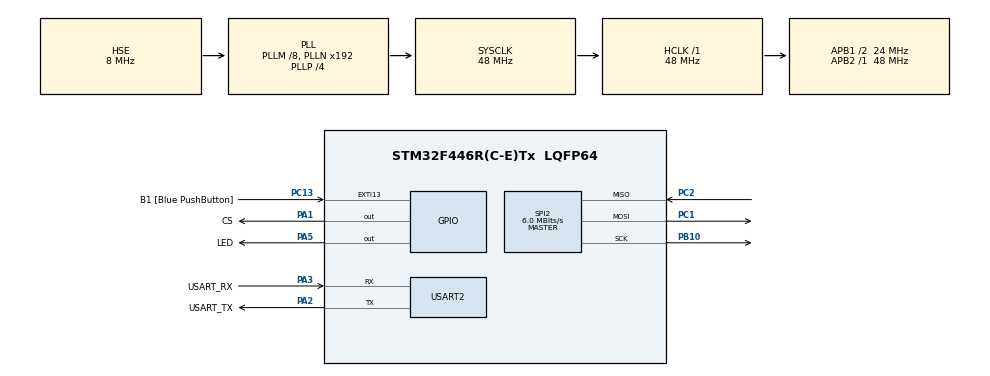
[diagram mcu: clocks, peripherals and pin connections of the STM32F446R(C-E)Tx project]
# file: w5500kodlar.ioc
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Mcu.Family=STM32F4
Mcu.Name=STM32F446R(C-E)Tx
Mcu.Package=LQFP64
NVIC.PriorityGroup=NVIC_PRIORITYGROUP_0
PA1.GPIO_Label=CS
PA1.GPIO_PuPd=GPIO_PULLUP
PA1.Signal=GPIO_Output
PA13.GPIO_Label=TMS
PA13.Mode=Serial_Wire
PA13.Signal=SYS_JTMS-SWDIO
PA14.GPIO_Label=TCK
PA14.Mode=Serial_Wire
PA14.Signal=SYS_JTCK-SWCLK
PA2.GPIO_Label=USART_TX
PA2.Mode=Asynchronous
PA2.Signal=USART2_TX
PA3.GPIO_Label=USART_RX
PA3.Mode=Asynchronous
PA3.Signal=USART2_RX
PA5.GPIO_Label=LED
PA5.Signal=GPIO_Output
PB10.Mode=Full_Duplex_Master
PB10.Signal=SPI2_SCK
PB3.GPIO_Label=SWO
PB3.Signal=SYS_JTDO-SWO
PC1.Mode=Full_Duplex_Master
PC1.Signal=SPI2_MOSI
PC13.GPIO_Label=B1 [Blue PushButton]
PC13.GPIO_ModeDefaultEXTI=GPIO_MODE_IT_FALLING
PC13.Signal=GPXTI13
PC14-OSC32_IN.Signal=RCC_OSC32_IN
PC15-OSC32_OUT.Signal=RCC_OSC32_OUT
PC2.Mode=Full_Duplex_Master
PC2.Signal=SPI2_MISO
PH0-OSC_IN.Mode=HSE-External-Oscillator
PH0-OSC_IN.Signal=RCC_OSC_IN
PH1-OSC_OUT.Mode=HSE-External-Oscillator
PH1-OSC_OUT.Signal=RCC_OSC_OUT
ProjectManager.HeapSize=0x200
ProjectManager.StackSize=0x400
ProjectManager.TargetToolchain=STM32CubeIDE
RCC.48MHZClocksFreq_Value=84000000
RCC.AHBFreq_Value=48000000
RCC.APB1CLKDivider=RCC_HCLK_DIV2
RCC.APB1Freq_Value=24000000
RCC.APB1TimFreq_Value=48000000
RCC.APB2Freq_Value=48000000
RCC.APB2TimFreq_Value=48000000
RCC.CortexFreq_Value=48000000
RCC.FLatency-AdvancedSettings=FLASH_LATENCY_1
RCC.HCLKFreq_Value=48000000
RCC.HSE_VALUE=8000000
RCC.HSI_VALUE=16000000
RCC.PLLM=8
RCC.PLLP=RCC_PLLP_DIV4
RCC.PLLSourceVirtual=RCC_PLLSOURCE_HSE
RCC.SYSCLKFreq_VALUE=48000000
RCC.SYSCLKSource=RCC_SYSCLKSOURCE_PLLCLK
RCC.USBFreq_Value=96000000
RCC.VCOOutputFreq_Value=192000000
SPI2.BaudRatePrescaler=SPI_BAUDRATEPRESCALER_4
SPI2.CalculateBaudRate=6.0 MBits/s
SPI2.Direction=SPI_DIRECTION_2LINES
SPI2.Mode=SPI_MODE_MASTER
SPI2.VirtualType=VM_MASTER
USART2.VirtualMode=VM_ASYNC
board=NUCLEO-F446RE

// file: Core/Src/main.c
/* USER CODE BEGIN Header */
/**
  ******************************************************************************
  * @file           : main.c
  * @brief          : Main program body
  ******************************************************************************
  * @attention
  *
  * <h2><center>&copy; Copyright (c) 2021 STMicroelectronics.
  * All rights reserved.</center></h2>
  *
  * This software component is licensed by ST under BSD 3-Clause license,
  * the "License"; You may not use this file except in compliance with the
  * License. You may obtain a copy of the License at:
  *                        opensource.org/licenses/BSD-3-Clause
  *
  ******************************************************************************
  */
/* USER CODE END Header */
#include "main.h"
#include "spi.h"
#include "usart.h"
#include "gpio.h"

/* USER CODE BEGIN Includes */
#include "wizchip_conf.h"
#include "socket.h"
#include <stm32f4xx_hal.h>
#include <string.h>
/* USER CODE END Includes */

/* USER CODE BEGIN PTD */
#define SEPARATOR            "=============================================\r\n"
#define WELCOME_MSG  		 "Welcome to STM32Nucleo Ethernet configuration\r\n"
#define NETWORK_MSG  		 "Network configuration:\r\n"
#define IP_MSG 		 		 "  IP ADDRESS:  %d.%d.%d.%d\r\n"
#define NETMASK_MSG	         "  NETMASK:     %d.%d.%d.%d\r\n"
#define GW_MSG 		 		 "  GATEWAY:     %d.%d.%d.%d\r\n"
#define MAC_MSG		 		 "  MAC ADDRESS: %x:%x:%x:%x:%x:%x\r\n"
#define GREETING_MSG 		 "Well done guys! Welcome to the IoT world. Bye!\r\n"
#define CONN_ESTABLISHED_MSG "Connection established with remote IP: %d.%d.%d.%d:%d\r\n"
#define SENT_MESSAGE_MSG	 "Sent a message. Let's close the socket!\r\n"
#define WRONG_RETVAL_MSG	 "Something went wrong; return value: %d\r\n"
#define WRONG_STATUS_MSG	 "Something went wrong; STATUS: %d\r\n"
#define LISTEN_ERR_MSG		 "LISTEN Error!\r\n"

#define PRINT_STR(msg) do  {										\
  HAL_UART_Transmit(&huart2, (uint8_t*)msg, strlen(msg), 100);		\
} while(0)

#define PRINT_HEADER() do  {													\
  HAL_UART_Transmit(&huart2, (uint8_t*)SEPARATOR, strlen(SEPARATOR), 100);		\
  HAL_UART_Transmit(&huart2, (uint8_t*)WELCOME_MSG, strlen(WELCOME_MSG), 100);	\
  HAL_UART_Transmit(&huart2, (uint8_t*)SEPARATOR, strlen(SEPARATOR), 100);		\
} while(0)

#define PRINT_NETINFO(netInfo) do { 																					\
  HAL_UART_Transmit(&huart2, (uint8_t*)NETWORK_MSG, strlen(NETWORK_MSG), 100);											\
  sprintf(msg, MAC_MSG, netInfo.mac[0], netInfo.mac[1], netInfo.mac[2], netInfo.mac[3], netInfo.mac[4], netInfo.mac[5]);\
  HAL_UART_Transmit(&huart2, (uint8_t*)msg, strlen(msg), 100);															\
  sprintf(msg, IP_MSG, netInfo.ip[0], netInfo.ip[1], netInfo.ip[2], netInfo.ip[3]);										\
  HAL_UART_Transmit(&huart2, (uint8_t*)msg, strlen(msg), 100);															\
  sprintf(msg, NETMASK_MSG, netInfo.sn[0], netInfo.sn[1], netInfo.sn[2], netInfo.sn[3]);								\
  HAL_UART_Transmit(&huart2, (uint8_t*)msg, strlen(msg), 100);															\
  sprintf(msg, GW_MSG, netInfo.gw[0], netInfo.gw[1], netInfo.gw[2], netInfo.gw[3]);										\
  HAL_UART_Transmit(&huart2, (uint8_t*)msg, strlen(msg), 100);															\
} while(0)
/* USER CODE END PTD */

/* USER CODE BEGIN PD */
char msg[60];
uint16_t okunan_veriler[20];
/* USER CODE END PTD */

/* Private define ------------------------------------------------------------*/
/* USER CODE BEGIN PD */
/* USER CODE END PD */

void SystemClock_Config(void);
/* USER CODE BEGIN PFP */
void cs_sel() {
	HAL_GPIO_WritePin(CS_GPIO_Port, CS_Pin, GPIO_PIN_RESET); //CS LOW
}

void cs_desel() {
	HAL_GPIO_WritePin(CS_GPIO_Port, CS_Pin, GPIO_PIN_SET); //CS HIGH
}

uint8_t spi_rb(void) {
	uint8_t rbuf;
	HAL_SPI_Receive(&hspi2, &rbuf, 1, 0xFFFFFFFF);
	return rbuf;
}

void spi_wb(uint8_t b) {
	HAL_SPI_Transmit(&hspi2, &b, 1, 0xFFFFFFFF);
}
void send_uart (char *string)
{
	uint8_t len = strlen (string);
	HAL_UART_Transmit(&huart2, (uint8_t *) string, len, HAL_MAX_DELAY);  // transmit in blocking mode
}
uint8_t fuction6(uint16_t deger);
uint8_t fuction3(uint16_t *deger,uint8_t adet);

/* USER CODE END PFP */

int main(void)
{

  /* USER CODE BEGIN 1 */
	uint8_t rcvBuf[20], bufSize[] = {2, 2, 2, 2};
	uint16_t deneme=0;
  /* USER CODE END 1 */

  /* MCU Configuration--------------------------------------------------------*/

  /* Reset of all peripherals, Initializes the Flash interface and the Systick. */
  HAL_Init();

  /* Configure the system clock */
  SystemClock_Config();

  /* Initialize all configured peripherals */
  MX_GPIO_Init();
  MX_USART2_UART_Init();
  MX_SPI2_Init();
  /* USER CODE BEGIN 2 */
  PRINT_HEADER();

    reg_wizchip_cs_cbfunc(cs_sel, cs_desel);
    reg_wizchip_spi_cbfunc(spi_rb, spi_wb);

    wizchip_init(bufSize, bufSize);
    wiz_NetInfo netInfo = { .mac 	= {0x00, 0x08, 0xdc, 0xab, 0xcd, 0xef},	// Mac address
                            .ip 	= {192, 168, 0, 45},					// IP address
                            .sn 	= {255, 255, 255, 0},					// Subnet mask
                            .gw 	= {192, 168, 2, 1}};					// Gateway address
    wizchip_setnetinfo(&netInfo);
    wizchip_getnetinfo(&netInfo);
    PRINT_NETINFO(netInfo);
    HAL_Delay(10);
  /* USER CODE END 2 */

  /* Infinite loop */
  while (1)
  {

    /* USER CODE BEGIN 3 */
	  if (fuction6(deneme)==0)
	  	  {
	  		  send_uart("Fonksiyon 6 OK... \n");
	  	  }
	  	  else
	  	  {
	  		  send_uart("Fonksiyon 6 Error... \n");
	  		  while(1)
	  		  {
	  			  HAL_Delay(500);
	  			  HAL_GPIO_TogglePin(LED_GPIO_Port, LED_Pin);
	  		  }
	  	  }
	  	  HAL_Delay(1000);
	  	  if (fuction3(okunan_veriler,5)==0)
	  	  {
	  		  send_uart("Fonksiyon 3 OK... \n");
	  		  for(int i=0;i<5;i++)
	  		  {
	  			  char mesaj[20];
	  			  sprintf(mesaj,"- %d",okunan_veriler[i]);
	  			  send_uart(mesaj);
	  			  send_uart("..\n");
	  		  }

	  	  }
	  	  else
	  	  {
	  		  send_uart("Fonksiyon 3 Error... \n");
	  		  while(1)
	  		  {
	  			  HAL_Delay(500);
	  			  HAL_GPIO_TogglePin(LED_GPIO_Port, LED_Pin);
	  		  }
	  	  }
	  	  HAL_Delay(1000);
	  	  HAL_GPIO_TogglePin(LED_GPIO_Port, LED_Pin);
	  	  deneme++;
  }
  /* USER CODE END 3 */
}

void SystemClock_Config(void)
{
  RCC_OscInitTypeDef RCC_OscInitStruct = {0};
  RCC_ClkInitTypeDef RCC_ClkInitStruct = {0};

  /** Configure the main internal regulator output voltage
  */
  __HAL_RCC_PWR_CLK_ENABLE();
  __HAL_PWR_VOLTAGESCALING_CONFIG(PWR_REGULATOR_VOLTAGE_SCALE3);

  /** Initializes the RCC Oscillators according to the specified parameters
  * in the RCC_OscInitTypeDef structure.
  */
  RCC_OscInitStruct.OscillatorType = RCC_OSCILLATORTYPE_HSE;
  RCC_OscInitStruct.HSEState = RCC_HSE_ON;
  RCC_OscInitStruct.PLL.PLLState = RCC_PLL_ON;
  RCC_OscInitStruct.PLL.PLLSource = RCC_PLLSOURCE_HSE;
  RCC_OscInitStruct.PLL.PLLM = 8;
  RCC_OscInitStruct.PLL.PLLN = 192;
  RCC_OscInitStruct.PLL.PLLP = RCC_PLLP_DIV4;
  RCC_OscInitStruct.PLL.PLLQ = 2;
  RCC_OscInitStruct.PLL.PLLR = 2;
  if (HAL_RCC_OscConfig(&RCC_OscInitStruct) != HAL_OK)
  {
    Error_Handler();
  }

  /** Initializes the CPU, AHB and APB buses clocks
  */
  RCC_ClkInitStruct.ClockType = RCC_CLOCKTYPE_HCLK|RCC_CLOCKTYPE_SYSCLK
                              |RCC_CLOCKTYPE_PCLK1|RCC_CLOCKTYPE_PCLK2;
  RCC_ClkInitStruct.SYSCLKSource = RCC_SYSCLKSOURCE_PLLCLK;
  RCC_ClkInitStruct.AHBCLKDivider = RCC_SYSCLK_DIV1;
  RCC_ClkInitStruct.APB1CLKDivider = RCC_HCLK_DIV2;
  RCC_ClkInitStruct.APB2CLKDivider = RCC_HCLK_DIV1;

  if (HAL_RCC_ClockConfig(&RCC_ClkInitStruct, FLASH_LATENCY_1) != HAL_OK)
  {
    Error_Handler();
  }
}

/* USER CODE BEGIN 4 */
uint8_t fuction6(uint16_t deger)
{
	uint8_t s=0;
	uint8_t time_out;
	uint8_t fonsiyon_6_istek[12];
	uint8_t fonsiyon_6_cevap[30];
	uint8_t slave_ip[4]={192,168,1,101};
	uint8_t cevap;
	uint8_t received_len=0,baglanma_istegi,RSR_len;

	cevap=socket(s,Sn_MR_TCP,502,SF_TCP_NODELAY);
	if(cevap!=0)
	{
		while(1)
		{
			HAL_GPIO_WritePin(LED_GPIO_Port, LED_Pin, GPIO_PIN_SET);

			HAL_Delay(500);
			return 1;
		}
	}
	for(int i=0;i<10;i++)
	{

		baglanma_istegi=connect(s,slave_ip,45000);
		if(baglanma_istegi==SOCK_OK)
		{
			HAL_GPIO_WritePin(LED_GPIO_Port, LED_Pin, GPIO_PIN_SET);

			break;
			//send_uart("Baglanti Basarili \n");
		}
		else
		{
			HAL_GPIO_WritePin(LED_GPIO_Port, LED_Pin, GPIO_PIN_RESET);

			//send_uart("Baglanti Basarisiz.. \n");
		}
		HAL_Delay(100);
	}
	fonsiyon_6_istek[0]=34;
	fonsiyon_6_istek[1]=20;
	fonsiyon_6_istek[2]=0;
	fonsiyon_6_istek[3]=0;
	fonsiyon_6_istek[4]=0;
	fonsiyon_6_istek[5]=6;
	fonsiyon_6_istek[6]=1;
	fonsiyon_6_istek[7]=6;
	fonsiyon_6_istek[8]=0;
	fonsiyon_6_istek[9]=1;
	fonsiyon_6_istek[10]=(deger>>8)&0xff;
	fonsiyon_6_istek[11]=deger&0xff;

	send(s,fonsiyon_6_istek,12);
	while(received_len==0)
	{
		HAL_GPIO_WritePin(LED_GPIO_Port, LED_Pin, GPIO_PIN_SET);

		if ((RSR_len = getSn_RX_RSR(s)) > 0)
		{
			received_len=recv(s,fonsiyon_6_cevap,RSR_len);
		  if(fonsiyon_6_cevap[0]==fonsiyon_6_istek[0]&&fonsiyon_6_cevap[1]==fonsiyon_6_istek[1])
		  {
			  return 0;
		  }
		  else
		  {
			  return 2;
		  }
		}
		else
		{
			time_out++;
			if(time_out>250)
			{
				return 4;
			}
		}

		HAL_Delay(1);
	}
	return 4;
}
uint8_t fuction3(uint16_t *deger,uint8_t adet)
{
	uint8_t s=0;
	uint8_t time_out;
	uint8_t fonsiyon_6_istek[12];
	uint8_t fonsiyon_6_cevap[30];
	uint8_t slave_ip[4]={192,168,1,101};
	uint8_t cevap;
	uint8_t received_len=0,baglanma_istegi,RSR_len;

	cevap=socket(s,Sn_MR_TCP,502,SF_TCP_NODELAY);
	if(cevap!=0)
	{
		while(1)
		{
			HAL_GPIO_WritePin(LED_GPIO_Port, LED_Pin, GPIO_PIN_SET);

			HAL_Delay(500);
			return 1;
		}
	}
	for(int i=0;i<10;i++)
	{

		baglanma_istegi=connect(s,slave_ip,502);
		if(baglanma_istegi==SOCK_OK)
		{
			HAL_GPIO_WritePin(LED_GPIO_Port, LED_Pin, GPIO_PIN_SET);

			break;
			//send_uart("Baglanti Basarili \n");
		}
		else
		{
			HAL_GPIO_WritePin(LED_GPIO_Port, LED_Pin, GPIO_PIN_RESET);

			//send_uart("Baglanti Basarisiz.. \n");
		}
		HAL_Delay(100);
	}
	fonsiyon_6_istek[0]=45;
	fonsiyon_6_istek[1]=80;
	fonsiyon_6_istek[2]=0;
	fonsiyon_6_istek[3]=0;
	fonsiyon_6_istek[4]=0;
	fonsiyon_6_istek[5]=6;
	fonsiyon_6_istek[6]=1;
	fonsiyon_6_istek[7]=3;
	fonsiyon_6_istek[8]=0;
	fonsiyon_6_istek[9]=0;
	fonsiyon_6_istek[10]=0;
	fonsiyon_6_istek[11]=adet;

	send(s,fonsiyon_6_istek,12);
	while(received_len==0)
	{
		HAL_GPIO_WritePin(LED_GPIO_Port, LED_Pin, GPIO_PIN_SET);
		if ((RSR_len = getSn_RX_RSR(s)) > 0)
		{
			received_len=recv(s,fonsiyon_6_cevap,RSR_len);
			if(fonsiyon_6_cevap[0]==fonsiyon_6_istek[0]&&fonsiyon_6_cevap[1]==fonsiyon_6_istek[1])
			{
				for(int i=0;i<adet;i++)
				{
					*(deger+i)=(fonsiyon_6_cevap[9+(i*2)]<<8)|fonsiyon_6_cevap[10+(i*2)];
				}
				return 0;
			}
			else
			{
				return 2;
			}
		}
		else
		{
			time_out++;
			if(time_out>250)
			{
				return 4;
			}
		}
		HAL_Delay(1);
	}
	return 4;
}
/* USER CODE END 4 */

void Error_Handler(void)
{
  __disable_irq();
  while (1)
  {
  }
}
